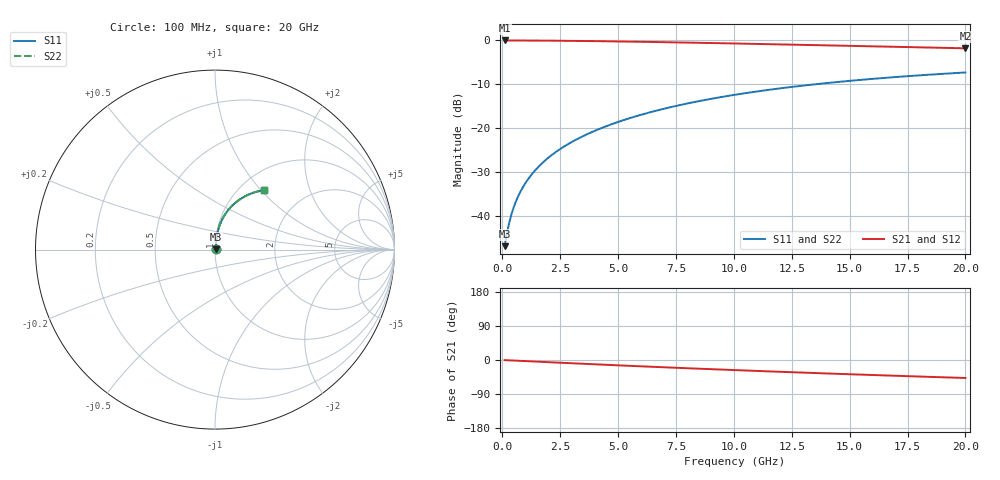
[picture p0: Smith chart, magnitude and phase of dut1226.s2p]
! Touchstone file exported from HFSS 2024.1.0
!  File:  C:/UserFiles/LocalFiles/RDL_TSV_Batchsim/temp_RDL_bottom_1226_1780244351.aedt
!  Generated:  12:21:45 AM Jun  1, 2026
!  Design:  RDL_bottom
!  Project:  temp_RDL_bottom_1226_1780244351
!  Setup:  Setup1
!  Solution:  Sweep
! Variables:
!  dtsv = 10.80580581um
!  hbump = 3um
!  htsv = 89.44um
!  ldown = 646.72um
!  lrdl = 100um
!  p = 40
!  p1 = 55.4um
!  rhole = 1um
!  t = 450um
!  tdown = 2.97um
!  trdl = 3.915915916um
!  wdown = 21.86um
!  wrdl = 20um
# GHz S MA R 50.000000
! Terminal data exported
! Port[1] = RDL1_T1
! Port[2] = RDL1_T2
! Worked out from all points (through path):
!   200 points, 100 MHz to 20 GHz, reference 50 ohm
!   highest |S21| = -0.03 dB at 100 MHz (marker M1); lowest = -1.8 dB at 20 GHz (marker M2)
!   group delay of S21, straight-line fit = 6.56 ps
!   lowest |S11| = -46.9 dB at 100 MHz (marker M3), VSWR 1.01, Z = 50.4 + j0.251 ohm
!   |S11| at or under -10 dB: start of sweep to 13.55 GHz
!   |S22| runs from -46.9 to -7.3 dB; largest |S21 - S12| = 6.2e-15
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0.1  0.004493 33.7  0.9963 -0.3  0.9963 -0.3  0.004493 33.7
! Gamma 0 0 0 0
! Port Impedance 50 0 50 0
0.2  0.006271 51.7  0.9961 -0.6  0.9961 -0.6  0.006271 51.7
0.3  0.008337 60.8  0.9959 -0.9  0.9959 -0.9  0.008337 60.8
0.4  0.01047 66.1  0.9956 -1.2  0.9956 -1.2  0.01047 66.1
0.5  0.01262 69.5  0.9954 -1.5  0.9954 -1.5  0.01262 69.5
0.6  0.01478 72.0  0.9952 -1.8  0.9952 -1.8  0.01478 72.0
0.8  0.01914 75.4  0.9948 -2.3  0.9948 -2.3  0.01914 75.4
1.1  0.02575 78.4  0.994 -3.2  0.994 -3.2  0.02575 78.4
1.3  0.03021 79.6  0.9935 -3.8  0.9935 -3.8  0.03021 79.6
1.6  0.03697 80.8  0.9925 -4.6  0.9925 -4.6  0.03697 80.8
2.1  0.04837 81.9  0.9905 -6.1  0.9905 -6.1  0.04837 81.9
2.7  0.06225 82.3  0.9875 -7.8  0.9875 -7.8  0.06226 82.3
3.5  0.08109 82.1  0.9826 -10.0  0.9826 -10.0  0.08111 82.1
4.2  0.09785 81.5  0.9776 -11.9  0.9776 -11.9  0.09787 81.5
5  0.1172 80.5  0.9711 -14.1  0.9711 -14.1  0.1173 80.5
6.8  0.1614 77.5  0.9544 -18.8  0.9544 -18.8  0.1614 77.6
8.4  0.2003 74.3  0.938 -22.8  0.938 -22.8  0.2004 74.4
10.1  0.2406 70.7  0.9196 -26.8  0.9196 -26.8  0.2407 70.8
11.7  0.2768 67.2  0.9019 -30.5  0.9019 -30.5  0.2769 67.3
13.4  0.3131 63.6  0.8828 -34.2  0.8828 -34.2  0.3133 63.6
16.7  0.3763 56.7  0.846 -41.1  0.846 -41.1  0.3765 56.7
20  0.4298 50.3  0.8106 -47.5  0.8106 -47.5  0.4301 50.3
